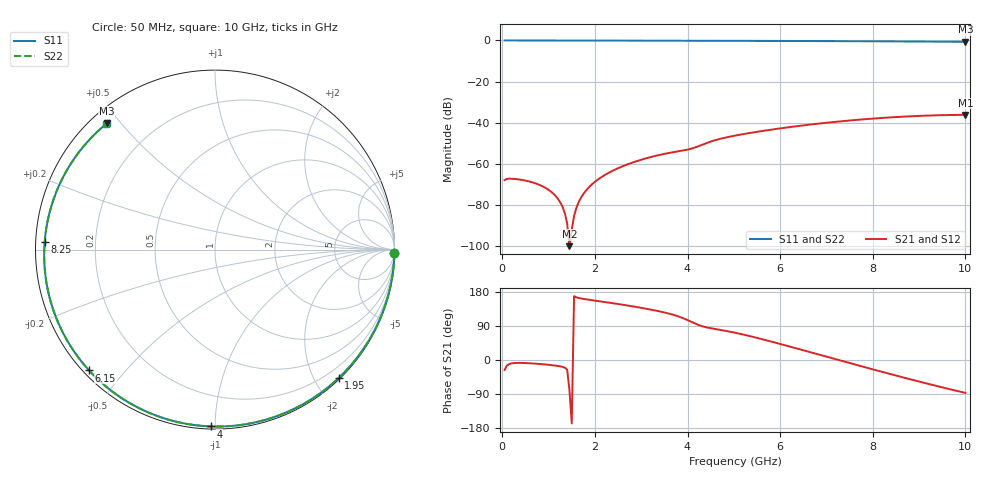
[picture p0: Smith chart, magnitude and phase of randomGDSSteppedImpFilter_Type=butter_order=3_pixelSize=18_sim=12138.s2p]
! freq	dB(S11)	phase(S11)	dB(S12)	phase(S12)
!  dB(S21)	phase(S21)	dB(S22)	phase(S22)
!S-par simulation data
#  GHz  S  DB  R 50
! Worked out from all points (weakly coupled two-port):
!   200 points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, 50 MHz to 10 GHz, reference 50 ohm
!   highest |S21| = -36.18 dB at 10 GHz (marker M1); lowest = -100.1 dB at 1.45 GHz (marker M2)
!   lowest |S11| = -0.7 dB at 10 GHz (marker M3), VSWR 25.96, Z = 2.33 + j23 ohm
!   |S11| at or under -10 dB: nowhere
!   |S22| runs from -0.7 to 0.0 dB; largest |S21 - S12| = 0
!   S11 on the Smith chart (normalised r, x): 50 MHz: 0, -95; 1.95 GHz: 0.02, -2.35; 4 GHz: 0.01, -0.98; 6.15 GHz: 0.02, -0.40; 8.25 GHz: 0.03, +0.02; 10 GHz: 0.05, +0.46
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0.05  -0.00 -1.2  -67.94 -26.3  -67.94 -26.3  -0.00 -1.2
0.3  -0.00 -7.2  -67.43 -7.7  -67.43 -7.7  -0.00 -7.2
0.75  -0.02 -18.0  -69.77 -9.9  -69.77 -9.9  -0.02 -18.0
1.05  -0.03 -25.1  -73.50 -13.3  -73.50 -13.3  -0.03 -25.1
1.3  -0.04 -31.0  -80.89 -18.1  -80.89 -18.1  -0.04 -31.0
1.45  -0.04 -34.5  -100.05 -79.4  -100.05 -79.4  -0.04 -34.5
1.6  -0.05 -38.0  -81.39 165.4  -81.39 165.4  -0.05 -38.0
1.75  -0.05 -41.5  -74.70 161.2  -74.70 161.2  -0.05 -41.5
1.95  -0.06 -46.1  -69.70 157.5  -69.70 157.5  -0.06 -46.1
2.2  -0.07 -51.8  -65.62 153.2  -65.62 153.2  -0.07 -51.8
2.55  -0.08 -59.7  -61.65 146.9  -61.65 146.9  -0.08 -59.7
3.4  -0.10 -78.5  -55.64 128.2  -55.64 128.2  -0.10 -78.4
4  -0.13 -91.3  -53.10 105.3  -53.10 105.3  -0.13 -91.3
4.6  -0.15 -104.0  -48.48 81.7  -48.48 81.7  -0.15 -103.9
5.05  -0.18 -113.4  -46.17 71.4  -46.17 71.4  -0.18 -113.3
6.15  -0.24 -136.2  -42.31 37.4  -42.31 37.4  -0.24 -136.1
6.7  -0.29 -147.7  -40.77 18.9  -40.77 18.9  -0.29 -147.6
7.5  -0.36 -165.1  -38.93 -8.1  -38.93 -8.1  -0.36 -165.0
8.25  -0.45 177.6  -37.61 -32.9  -37.61 -32.9  -0.44 177.7
8.35  -0.46 175.2  -37.46 -36.1  -37.46 -36.1  -0.46 175.3
9.2  -0.56 153.5  -36.53 -63.1  -36.53 -63.1  -0.56 153.7
10  -0.67 130.6  -36.18 -86.8  -36.18 -86.8  -0.67 130.9
